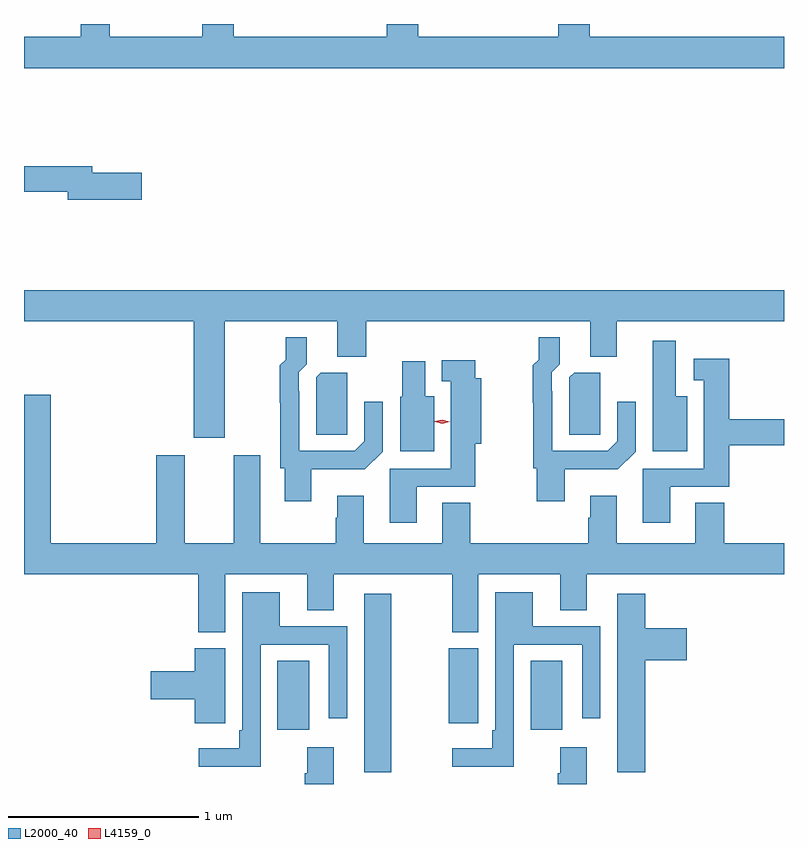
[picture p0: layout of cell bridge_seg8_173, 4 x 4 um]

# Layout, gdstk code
import gdstk
lib = gdstk.Library(unit=1e-6, precision=1e-09)
def R(c, l, rs):  # rectangles x0, y0, x1, y1
    for r in rs: c.add(gdstk.rectangle(r[:2], r[2:], *l))
def P(c, l, *ps):  # polygons
    for p in ps: c.add(gdstk.Polygon(p, *l))
L2000_40 = (2000, 40)
L4159_0 = (4159, 0)

bridge_seg8_173 = lib.new_cell('bridge_seg8_173')
R(bridge_seg8_173, L2000_40, [(579.38,1086.153,579.522,1087.093), (578.924,1086.378,579.091,1086.74), (580.256,1086.378,580.423,1086.74)])
P(bridge_seg8_173, L2000_40, [(581.59,1090.024),(580.568,1090.024),(580.568,1090.092),(580.403,1090.092),(580.403,1090.024),(579.665,1090.024),(579.665,1090.092),(579.5,1090.092),(579.5,1090.024),(578.693,1090.024),(578.693,1090.092),(578.528,1090.092),(578.528,1090.024),(578.042,1090.024),(578.042,1090.092),(577.889,1090.092),(577.889,1090.024),(577.59,1090.024),(577.59,1089.86),(581.59,1089.86)],
  [(578.209,1089.308),(577.948,1089.308),(577.948,1089.344),(577.59,1089.344),(577.59,1089.208),(577.82,1089.208),(577.82,1089.166),(578.209,1089.166)],
  [(578.647,1088.528),(579.239,1088.528),(579.239,1088.341),(579.392,1088.341),(579.392,1088.528),(580.571,1088.528),(580.571,1088.341),(580.711,1088.341),(580.711,1088.528),(581.59,1088.528),(581.59,1088.692),(577.59,1088.692),(577.59,1088.528),(578.483,1088.528),(578.483,1087.914),(578.647,1087.914)],
  [(580.435,1087.748),(580.715,1087.748),(580.809,1087.842),(580.809,1088.104),(580.713,1088.104),(580.713,1087.896),(580.662,1087.845),(580.371,1087.845),(580.371,1088.159),(580.368,1088.159),(580.368,1088.259),(580.411,1088.302),(580.411,1088.443),(580.299,1088.443),(580.299,1088.326),(580.268,1088.295),(580.268,1088.098),(580.27,1088.098),(580.27,1087.755),(580.288,1087.755),(580.288,1087.581),(580.435,1087.581)],
  [(579.103,1087.748),(579.383,1087.748),(579.477,1087.842),(579.477,1088.104),(579.381,1088.104),(579.381,1087.896),(579.33,1087.845),(579.039,1087.845),(579.039,1088.159),(579.036,1088.159),(579.036,1088.259),(579.079,1088.302),(579.079,1088.443),(578.967,1088.443),(578.967,1088.326),(578.936,1088.295),(578.936,1088.098),(578.938,1088.098),(578.938,1087.755),(578.963,1087.755),(578.963,1087.581),(579.103,1087.581)],
  [(581.08,1088.134),(581.02,1088.134),(581.02,1088.425),(580.898,1088.425),(580.898,1087.844),(581.08,1087.844)],
  [(580.99,1087.656),(581.303,1087.656),(581.303,1087.876),(581.59,1087.876),(581.59,1088.012),(581.303,1088.012),(581.303,1088.329),(581.115,1088.329),(581.115,1088.216),(581.168,1088.216),(581.168,1087.752),(580.847,1087.752),(580.847,1087.467),(580.99,1087.467)],
  [(579.658,1087.656),(579.966,1087.656),(579.966,1087.883),(579.997,1087.883),(579.997,1088.227),(579.966,1088.227),(579.966,1088.321),(579.788,1088.321),(579.788,1088.211),(579.836,1088.211),(579.836,1087.752),(579.515,1087.752),(579.515,1087.467),(579.658,1087.467)],
  [(579.748,1088.134),(579.703,1088.134),(579.703,1088.317),(579.581,1088.317),(579.581,1088.13),(579.569,1088.13),(579.569,1087.844),(579.748,1087.844)],
  [(579.291,1088.041),(579.292,1088.041),(579.292,1088.256),(579.153,1088.256),(579.129,1088.232),(579.129,1087.93),(579.291,1087.93)],
  [(580.623,1088.041),(580.624,1088.041),(580.624,1088.256),(580.485,1088.256),(580.461,1088.232),(580.461,1087.93),(580.623,1087.93)],
  [(578.65,1087.196),(579.08,1087.196),(579.08,1087.006),(579.22,1087.006),(579.22,1087.196),(579.844,1087.196),(579.844,1086.892),(579.982,1086.892),(579.982,1087.196),(580.412,1087.196),(580.412,1087.006),(580.552,1087.006),(580.552,1087.196),(581.59,1087.196),(581.59,1087.36),(581.276,1087.36),(581.276,1087.571),(581.123,1087.571),(581.123,1087.36),(580.711,1087.36),(580.711,1087.609),(580.571,1087.609),(580.571,1087.493),(580.559,1087.493),(580.559,1087.36),(579.939,1087.36),(579.939,1087.571),(579.791,1087.571),(579.791,1087.36),(579.379,1087.36),(579.379,1087.609),(579.239,1087.609),(579.239,1087.493),(579.232,1087.493),(579.232,1087.36),(578.833,1087.36),(578.833,1087.822),(578.693,1087.822),(578.693,1087.36),(578.437,1087.36),(578.437,1087.822),(578.285,1087.822),(578.285,1087.36),(577.73,1087.36),(577.73,1088.14),(577.59,1088.14),(577.59,1087.196),(578.507,1087.196),(578.507,1086.892),(578.65,1086.892)],
  [(578.835,1086.825),(579.195,1086.825),(579.195,1086.438),(579.291,1086.438),(579.291,1086.921),(578.935,1086.921),(578.935,1087.102),(578.739,1087.102),(578.739,1086.376),(578.723,1086.376),(578.723,1086.28),(578.511,1086.28),(578.511,1086.182),(578.835,1086.182)],
  [(580.167,1086.825),(580.527,1086.825),(580.527,1086.438),(580.623,1086.438),(580.623,1086.921),(580.267,1086.921),(580.267,1087.102),(580.071,1087.102),(580.071,1086.376),(580.055,1086.376),(580.055,1086.28),(579.843,1086.28),(579.843,1086.182),(580.167,1086.182)],
  [(580.859,1086.743),(581.077,1086.743),(581.077,1086.913),(580.859,1086.913),(580.859,1087.093),(580.712,1087.093),(580.712,1086.153),(580.859,1086.153)],
  [(578.649,1086.523),(578.65,1086.523),(578.65,1086.807),(578.489,1086.807),(578.489,1086.686),(578.256,1086.686),(578.256,1086.539),(578.489,1086.539),(578.489,1086.411),(578.649,1086.411)],
  [(579.981,1086.523),(579.982,1086.523),(579.982,1086.807),(579.826,1086.807),(579.826,1086.411),(579.981,1086.411)],
  [(580.552,1086.286),(580.412,1086.286),(580.412,1086.149),(580.4,1086.149),(580.4,1086.092),(580.552,1086.092)],
  [(579.22,1086.286),(579.08,1086.286),(579.08,1086.149),(579.068,1086.149),(579.068,1086.092),(579.22,1086.092)])
P(bridge_seg8_173, L4159_0, [(579.791,1087.989),(579.752,1087.999),(579.752,1088),(579.752,1088),(579.792,1088.009),(579.831,1087.999),(579.831,1087.998),(579.831,1087.998)])

lib.write_gds('bridge_seg8_173.gds')
